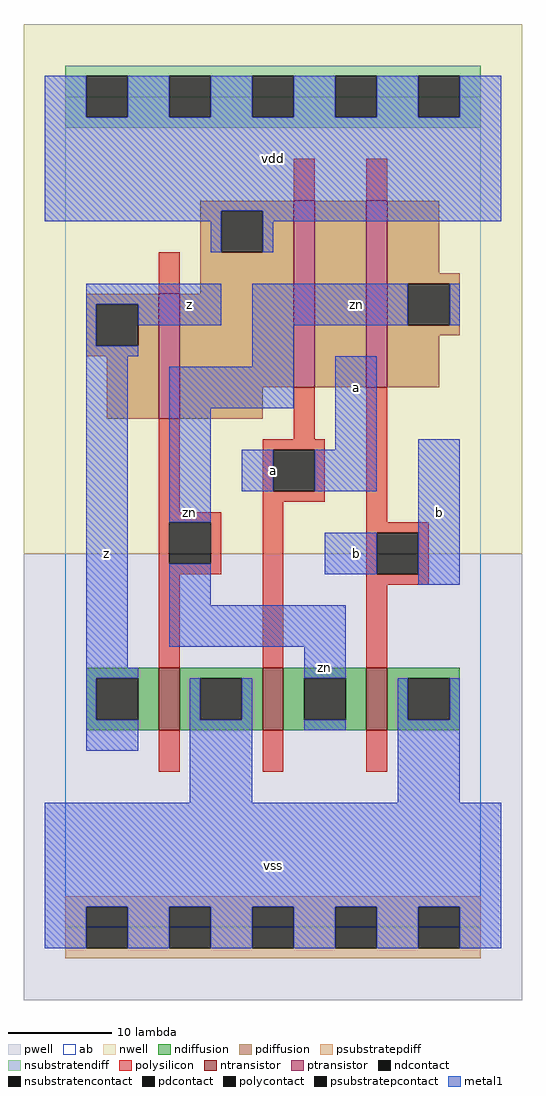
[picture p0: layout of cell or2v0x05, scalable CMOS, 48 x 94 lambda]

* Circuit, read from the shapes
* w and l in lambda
.subckt or2v0x05 a b vdd vss z zn
M1 vss zn z vss nfet w=6 l=2
M2 zn a vss vss nfet w=6 l=2
M3 vss b zn vss nfet w=6 l=2
M4 vdd zn z vdd pfet w=12 l=2
M5 n1 a vdd vdd pfet w=18 l=2
M6 zn b n1 vdd pfet w=18 l=2
.ends

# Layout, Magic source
magic
tech scmos
<< ab >>
rect 0 0 40 80
<< pwell >>
rect -4 -7 44 36
<< nwell >>
rect -4 36 44 87
<< polysilicon >>
rect 22 70 24 74
rect 29 70 31 74
rect 9 61 11 65
rect 9 40 11 49
rect 22 47 24 52
rect 19 46 25 47
rect 19 42 20 46
rect 24 42 25 46
rect 19 41 25 42
rect 9 39 15 40
rect 9 35 10 39
rect 14 35 15 39
rect 9 34 15 35
rect 9 25 11 34
rect 19 25 21 41
rect 29 39 31 52
rect 29 38 35 39
rect 29 34 30 38
rect 34 34 35 38
rect 29 33 35 34
rect 29 25 31 33
rect 9 15 11 19
rect 19 15 21 19
rect 29 15 31 19
<< ndiffusion >>
rect 2 24 9 25
rect 2 20 3 24
rect 7 20 9 24
rect 2 19 9 20
rect 11 24 19 25
rect 11 20 13 24
rect 17 20 19 24
rect 11 19 19 20
rect 21 24 29 25
rect 21 20 23 24
rect 27 20 29 24
rect 21 19 29 20
rect 31 24 38 25
rect 31 20 33 24
rect 37 20 38 24
rect 31 19 38 20
<< pdiffusion >>
rect 13 69 22 70
rect 13 65 15 69
rect 19 65 22 69
rect 13 61 22 65
rect 2 60 9 61
rect 2 56 3 60
rect 7 56 9 60
rect 2 55 9 56
rect 4 49 9 55
rect 11 52 22 61
rect 24 52 29 70
rect 31 63 36 70
rect 31 62 38 63
rect 31 58 33 62
rect 37 58 38 62
rect 31 57 38 58
rect 31 52 36 57
rect 11 49 19 52
<< metal1 >>
rect -2 78 2 82
rect 6 78 10 82
rect 14 78 18 82
rect 22 78 26 82
rect 30 78 34 82
rect 38 78 42 82
rect -2 69 42 78
rect -2 68 15 69
rect 14 65 15 68
rect 19 68 42 69
rect 19 65 20 68
rect 2 60 15 62
rect 2 56 3 60
rect 7 58 15 60
rect 18 58 33 62
rect 37 58 38 62
rect 2 55 7 56
rect 2 25 6 55
rect 18 54 22 58
rect 10 50 22 54
rect 10 39 14 50
rect 26 46 30 55
rect 17 42 20 46
rect 24 42 30 46
rect 10 31 14 35
rect 25 34 30 38
rect 34 33 38 47
rect 10 27 27 31
rect 2 24 7 25
rect 23 24 27 27
rect 2 20 3 24
rect 2 17 7 20
rect 12 20 13 24
rect 17 20 18 24
rect 12 12 18 20
rect 23 19 27 20
rect 32 20 33 24
rect 37 20 38 24
rect 32 12 38 20
rect -2 2 42 12
rect -2 -2 2 2
rect 6 -2 10 2
rect 14 -2 18 2
rect 22 -2 26 2
rect 30 -2 34 2
rect 38 -2 42 2
<< ntransistor >>
rect 9 19 11 25
rect 19 19 21 25
rect 29 19 31 25
<< ptransistor >>
rect 9 49 11 61
rect 22 52 24 70
rect 29 52 31 70
<< polycontact >>
rect 20 42 24 46
rect 10 35 14 39
rect 30 34 34 38
<< ndcontact >>
rect 3 20 7 24
rect 13 20 17 24
rect 23 20 27 24
rect 33 20 37 24
<< pdcontact >>
rect 15 65 19 69
rect 3 56 7 60
rect 33 58 37 62
<< psubstratepcontact >>
rect 2 -2 6 2
rect 10 -2 14 2
rect 18 -2 22 2
rect 26 -2 30 2
rect 34 -2 38 2
<< nsubstratencontact >>
rect 2 78 6 82
rect 10 78 14 82
rect 18 78 22 82
rect 26 78 30 82
rect 34 78 38 82
<< psubstratepdiff >>
rect 0 2 40 3
rect 0 -2 2 2
rect 6 -2 10 2
rect 14 -2 18 2
rect 22 -2 26 2
rect 30 -2 34 2
rect 38 -2 40 2
rect 0 -3 40 -2
<< nsubstratendiff >>
rect 0 82 40 83
rect 0 78 2 82
rect 6 78 10 82
rect 14 78 18 82
rect 22 78 26 82
rect 30 78 34 82
rect 38 78 40 82
rect 0 77 40 78
<< labels >>
rlabel metal1 4 36 4 36 6 z
rlabel metal1 12 40 12 40 6 zn
rlabel metal1 12 60 12 60 6 z
rlabel metal1 20 6 20 6 6 vss
rlabel metal1 25 25 25 25 6 zn
rlabel metal1 28 36 28 36 6 b
rlabel metal1 20 44 20 44 6 a
rlabel metal1 28 52 28 52 6 a
rlabel metal1 20 74 20 74 6 vdd
rlabel metal1 36 40 36 40 6 b
rlabel metal1 28 60 28 60 6 zn
<< end >>
